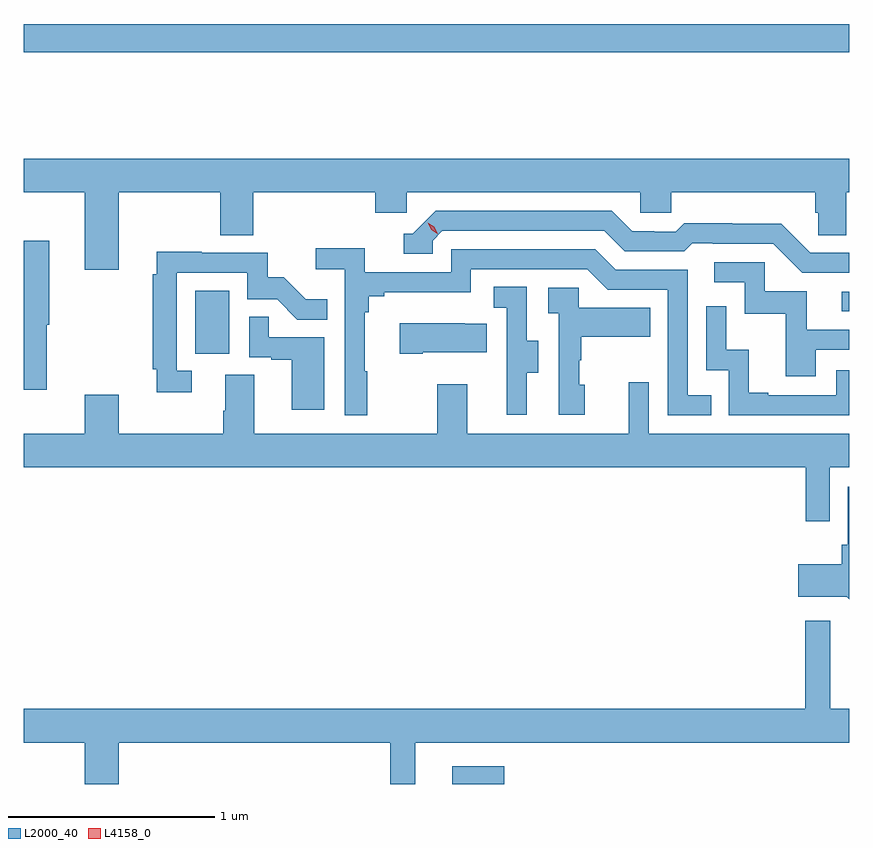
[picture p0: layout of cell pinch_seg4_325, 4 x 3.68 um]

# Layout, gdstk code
import gdstk
lib = gdstk.Library(unit=1e-6, precision=1e-09)
def R(c, l, rs):  # rectangles x0, y0, x1, y1
    for r in rs: c.add(gdstk.rectangle(r[:2], r[2:], *l))
def P(c, l, *ps):  # polygons
    for p in ps: c.add(gdstk.Polygon(p, *l))
L2000_40 = (2000, 40)
L4158_0 = (4158, 0)

pinch_seg4_325 = lib.new_cell('pinch_seg4_325')
R(pinch_seg4_325, L2000_40, [(993.959,804.611,994.21,804.697), (992.714,806.694,992.878,807.001), (995.847,806.901,995.883,806.994), (991.883,808.156,995.883,808.292)])
P(pinch_seg4_325, L2000_40, [(992.344,807.476),(992.836,807.476),(992.836,807.268),(992.996,807.268),(992.996,807.476),(993.587,807.476),(993.587,807.378),(993.738,807.378),(993.738,807.476),(994.869,807.476),(994.869,807.378),(995.019,807.378),(995.019,807.476),(995.717,807.476),(995.717,807.378),(995.731,807.378),(995.731,807.268),(995.868,807.268),(995.868,807.476),(995.883,807.476),(995.883,807.64),(991.883,807.64),(991.883,807.476),(992.18,807.476),(992.18,807.102),(992.344,807.102)],
  [(995.883,807.183),(995.694,807.183),(995.552,807.325),(995.316,807.325),(995.316,807.328),(995.083,807.328),(995.041,807.285),(994.938,807.285),(994.938,807.288),(994.831,807.288),(994.732,807.387),(993.879,807.387),(993.768,807.276),(993.725,807.276),(993.725,807.18),(993.864,807.18),(993.864,807.243),(993.912,807.291),(994.695,807.291),(994.794,807.192),(995.083,807.192),(995.122,807.231),(995.221,807.231),(995.221,807.228),(995.514,807.228),(995.655,807.087),(995.883,807.087)],
  [(991.996,806.835),(992.008,806.835),(992.008,807.241),(991.883,807.241),(991.883,806.52),(991.996,806.52)],
  [(993.547,806.609),(993.535,806.609),(993.535,806.897),(993.554,806.897),(993.554,806.974),(993.631,806.974),(993.631,806.993),(994.05,806.993),(994.05,807.105),(994.614,807.105),(994.713,807.006),(995.004,807.006),(995.004,806.397),(995.213,806.397),(995.213,806.493),(995.1,806.493),(995.1,807.102),(994.75,807.102),(994.651,807.201),(993.954,807.201),(993.954,807.09),(993.536,807.09),(993.536,807.206),(993.297,807.206),(993.297,807.104),(993.438,807.104),(993.438,806.397),(993.547,806.397)],
  [(992.698,806.613),(992.625,806.613),(992.625,807.087),(992.967,807.087),(992.967,806.958),(993.111,806.958),(993.209,806.86),(993.353,806.86),(993.353,806.959),(993.249,806.959),(993.142,807.066),(993.066,807.066),(993.066,807.183),(992.747,807.183),(992.747,807.188),(992.528,807.188),(992.528,807.08),(992.509,807.08),(992.509,806.62),(992.528,806.62),(992.528,806.508),(992.698,806.508)],
  [(995.719,806.715),(995.883,806.715),(995.883,806.811),(995.677,806.811),(995.677,806.997),(995.472,806.997),(995.472,807.138),(995.229,807.138),(995.229,807.042),(995.376,807.042),(995.376,806.889),(995.575,806.889),(995.575,806.586),(995.719,806.586)],
  [(994.321,806.602),(994.375,806.602),(994.375,806.757),(994.32,806.757),(994.32,807.02),(994.161,807.02),(994.161,806.917),(994.224,806.917),(994.224,806.613),(994.223,806.613),(994.223,806.4),(994.321,806.4)],
  [(994.6,806.544),(994.575,806.544),(994.575,806.663),(994.585,806.663),(994.585,806.777),(994.919,806.777),(994.919,806.917),(994.572,806.917),(994.572,807.015),(994.425,807.015),(994.425,806.891),(994.476,806.891),(994.476,806.4),(994.6,806.4)],
  [(995.883,806.616),(995.82,806.616),(995.82,806.493),(995.491,806.493),(995.491,806.506),(995.396,806.506),(995.396,806.714),(995.286,806.714),(995.286,806.926),(995.19,806.926),(995.19,806.616),(995.298,806.616),(995.298,806.397),(995.883,806.397)],
  [(993.34,806.775),(993.071,806.775),(993.071,806.873),(992.976,806.873),(992.976,806.679),(993.083,806.679),(993.083,806.667),(993.182,806.667),(993.182,806.424),(993.34,806.424)],
  [(993.817,806.702),(994.127,806.702),(994.127,806.839),(994.019,806.839),(994.019,806.842),(993.705,806.842),(993.705,806.695),(993.817,806.695)],
  [(995.787,806.144),(995.883,806.144),(995.883,806.308),(994.911,806.308),(994.911,806.557),(994.814,806.557),(994.814,806.308),(994.033,806.308),(994.033,806.548),(993.886,806.548),(993.886,806.308),(993.001,806.308),(993.001,806.594),(992.861,806.594),(992.861,806.42),(992.849,806.42),(992.849,806.308),(992.344,806.308),(992.344,806.497),(992.18,806.497),(992.18,806.308),(991.883,806.308),(991.883,806.144),(995.671,806.144),(995.671,805.884),(995.787,805.884)],
  [(995.883,806.05),(995.876,806.05),(995.876,805.77),(995.846,805.77),(995.846,805.675),(995.634,805.675),(995.634,805.517),(995.871,805.517),(995.883,805.505)],
  [(992.344,804.812),(993.66,804.812),(993.66,804.611),(993.781,804.611),(993.781,804.812),(995.883,804.812),(995.883,804.976),(995.791,804.976),(995.791,805.402),(995.669,805.402),(995.669,804.976),(991.883,804.976),(991.883,804.812),(992.18,804.812),(992.18,804.611),(992.344,804.611)])
P(pinch_seg4_325, L4158_0, [(993.887,807.277),(993.857,807.296),(993.841,807.329),(993.841,807.33),(993.841,807.33),(993.872,807.31),(993.888,807.277),(993.888,807.277)])

lib.write_gds('pinch_seg4_325.gds')
